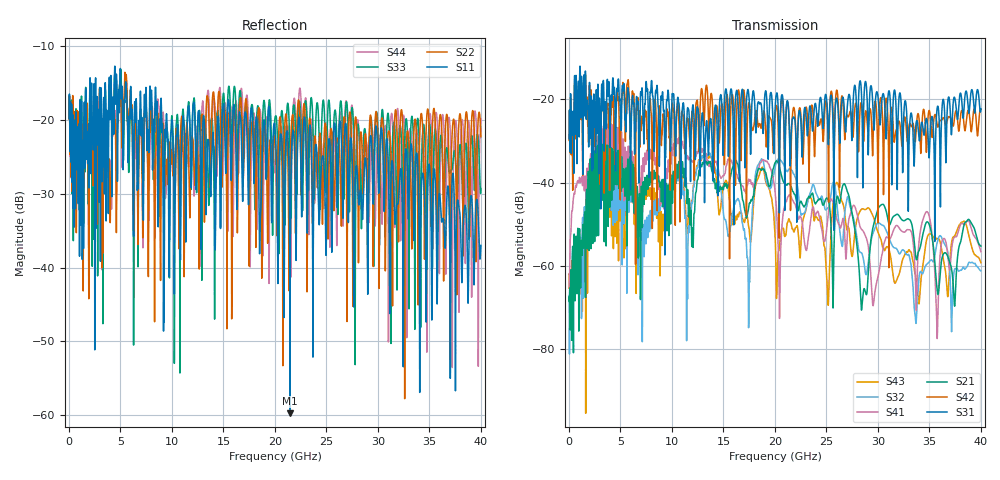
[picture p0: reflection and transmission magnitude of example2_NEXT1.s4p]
! File created by SignalIntegrity v1.2.0: Signal and Power Integrity Tools
! https://github.com/TeledyneLeCroy/SignalIntegrity
# MHz S MA R 50.0
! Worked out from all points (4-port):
!   4000 points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, 10 MHz to 40 GHz, reference 50 ohm
!   strongest paths, dB at 10 MHz, 10.01 GHz, 20.01 GHz, 30.01 GHz, 40 GHz:
!     S31: -29.5, -18.9, -22.8, -19.4, -22.3
!     S42: -29.9, -21.7, -23.7, -49.6, -22.4
!     S21: -67.4, -41.0, -35.3, -46.3, -55.2
!     S41: -64.9, -32.2, -42.1, -62.6, -56.6
!     S32: -67.2, -41.4, -36.5, -49.6, -61.2
!     S43: -65.3, -41.1, -52.5, -51.9, -59.2
!   lowest |S11| = -59.8 dB at 21.46 GHz (marker M1), VSWR 1.00, Z = 49.9 - j0.0067 ohm
!   |S11| at or under -10 dB: start of sweep to end of sweep
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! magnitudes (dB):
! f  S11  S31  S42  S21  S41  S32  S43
! 10 MHz  -19.8  -29.5  -29.9  -67.4  -64.9  -67.2  -65.3
! 2.94 GHz  -18.7  -19.8  -23.1  -32.0  -31.1  -32.7  -35.6
! 13.65 GHz  -26.5  -26.1  -24.9  -35.1  -35.5  -32.9  -33.6
! 17.42 GHz  -31.2  -18.0  -21.3  -46.5  -39.3  -67.2  -50.2
! 21.46 GHz  -59.8  -34.3  -32.1  -40.4  -43.2  -36.6  -49.4
! 28.48 GHz  -33.3  -25.6  -23.0  -68.8  -51.4  -57.2  -46.3
! 40 GHz  -37.0  -22.3  -22.4  -55.2  -56.6  -61.2  -59.2
